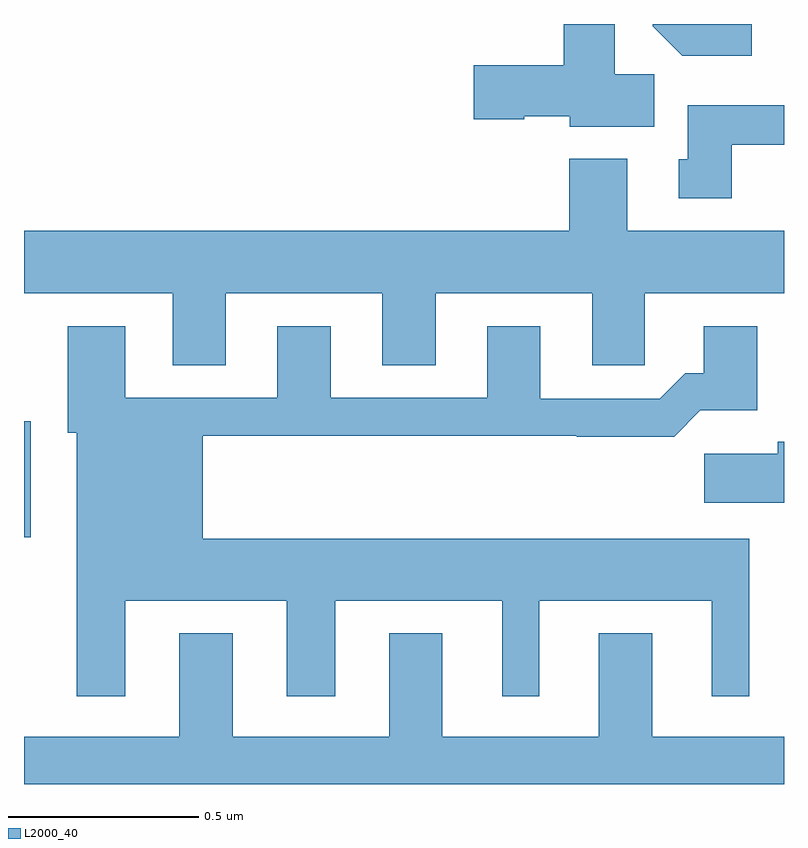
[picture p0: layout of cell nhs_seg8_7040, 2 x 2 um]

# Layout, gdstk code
import gdstk
lib = gdstk.Library(unit=1e-6, precision=1e-09)
def R(c, l, rs):  # rectangles x0, y0, x1, y1
    for r in rs: c.add(gdstk.rectangle(r[:2], r[2:], *l))
def P(c, l, *ps):  # polygons
    for p in ps: c.add(gdstk.Polygon(p, *l))
L2000_40 = (2000, 40)

nhs_seg8_7040 = lib.new_cell('nhs_seg8_7040')
R(nhs_seg8_7040, L2000_40, [(205,1090.55,205.018,1090.855)])
P(nhs_seg8_7040, L2000_40, [(206.659,1091.768),(206.554,1091.768),(206.554,1091.9),(206.42,1091.9),(206.42,1091.792),(206.184,1091.792),(206.184,1091.65),(206.316,1091.65),(206.316,1091.657),(206.436,1091.657),(206.436,1091.63),(206.659,1091.63)],
  [(206.915,1091.9),(206.654,1091.9),(206.654,1091.894),(206.732,1091.816),(206.915,1091.816)],
  [(206.863,1091.582),(207,1091.582),(207,1091.686),(206.747,1091.686),(206.747,1091.544),(206.723,1091.544),(206.723,1091.442),(206.863,1091.442)],
  [(205.531,1091.192),(205.943,1091.192),(205.943,1091.002),(206.083,1091.002),(206.083,1091.192),(206.495,1091.192),(206.495,1091.002),(206.634,1091.002),(206.634,1091.192),(207,1091.192),(207,1091.356),(206.587,1091.356),(206.587,1091.545),(206.435,1091.545),(206.435,1091.356),(205,1091.356),(205,1091.192),(205.391,1091.192),(205.391,1091.002),(205.531,1091.002)],
  [(205.267,1090.382),(205.691,1090.382),(205.691,1090.131),(205.819,1090.131),(205.819,1090.382),(206.258,1090.382),(206.258,1090.131),(206.356,1090.131),(206.356,1090.382),(206.81,1090.382),(206.81,1090.131),(206.908,1090.131),(206.908,1090.546),(205.471,1090.546),(205.471,1090.816),(206.455,1090.816),(206.455,1090.814),(206.711,1090.814),(206.78,1090.883),(206.929,1090.883),(206.929,1091.104),(206.789,1091.104),(206.789,1090.981),(206.74,1090.981),(206.673,1090.914),(206.359,1090.914),(206.359,1091.104),(206.219,1091.104),(206.219,1090.917),(205.807,1090.917),(205.807,1091.104),(205.667,1091.104),(205.667,1090.917),(205.267,1090.917),(205.267,1091.104),(205.115,1091.104),(205.115,1090.824),(205.139,1090.824),(205.139,1090.131),(205.267,1090.131)],
  [(207,1090.801),(206.984,1090.801),(206.984,1090.769),(206.79,1090.769),(206.79,1090.64),(207,1090.64)],
  [(207,1090.024),(206.653,1090.024),(206.653,1090.297),(206.513,1090.297),(206.513,1090.024),(206.101,1090.024),(206.101,1090.297),(205.961,1090.297),(205.961,1090.024),(205.549,1090.024),(205.549,1090.297),(205.409,1090.297),(205.409,1090.024),(205,1090.024),(205,1089.9),(207,1089.9)])

lib.write_gds('nhs_seg8_7040.gds')
